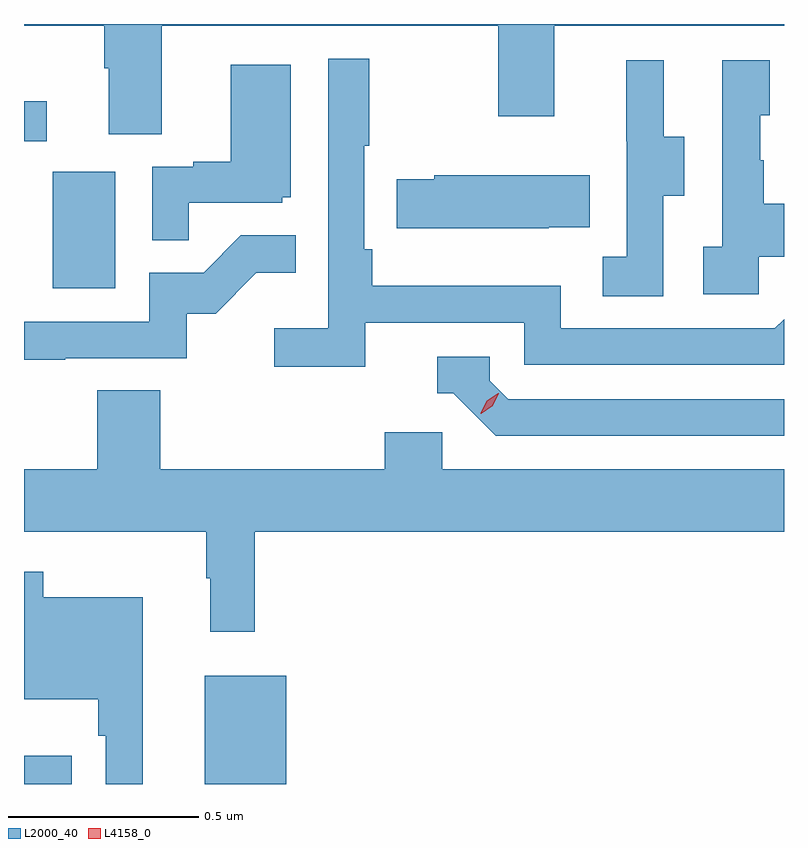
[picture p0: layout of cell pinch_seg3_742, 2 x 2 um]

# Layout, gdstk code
import gdstk
lib = gdstk.Library(unit=1e-6, precision=1e-09)
def R(c, l, rs):  # rectangles x0, y0, x1, y1
    for r in rs: c.add(gdstk.rectangle(r[:2], r[2:], *l))
def P(c, l, *ps):  # polygons
    for p in ps: c.add(gdstk.Polygon(p, *l))
L2000_40 = (2000, 40)
L4158_0 = (4158, 0)

pinch_seg3_742 = lib.new_cell('pinch_seg3_742')
R(pinch_seg3_742, L2000_40, [(875.422,729.556,875.548,729.631), (875.897,729.556,876.112,729.841), (875.498,730.86,875.662,731.167), (875.422,731.247,875.482,731.353)])
P(pinch_seg3_742, L2000_40, [(875.785,731.552),(876.67,731.552),(876.67,731.313),(876.817,731.313),(876.817,731.552),(877.422,731.552),(877.422,731.556),(875.422,731.556),(875.422,731.552),(875.633,731.552),(875.633,731.44),(875.645,731.44),(875.645,731.266),(875.785,731.266)],
  [(876.32,730.77),(876.738,730.77),(876.738,730.659),(877.422,730.659),(877.422,730.779),(877.398,730.755),(876.834,730.755),(876.834,730.867),(876.338,730.867),(876.338,730.963),(876.318,730.963),(876.318,731.236),(876.331,731.236),(876.331,731.464),(876.222,731.464),(876.222,730.756),(876.081,730.756),(876.081,730.654),(876.32,730.654)],
  [(877.104,731.104),(877.159,731.104),(877.159,731.259),(877.105,731.259),(877.105,731.461),(877.007,731.461),(877.007,731.247),(877.008,731.247),(877.008,730.943),(876.945,730.943),(876.945,730.84),(877.104,730.84)],
  [(877.356,730.943),(877.422,730.943),(877.422,731.083),(877.369,731.083),(877.369,731.198),(877.359,731.198),(877.359,731.316),(877.384,731.316),(877.384,731.461),(877.26,731.461),(877.26,730.97),(877.209,730.97),(877.209,730.845),(877.356,730.845)],
  [(875.855,731.085),(876.102,731.085),(876.102,731.1),(876.124,731.1),(876.124,731.449),(875.966,731.449),(875.966,731.194),(875.867,731.194),(875.867,731.181),(875.76,731.181),(875.76,730.987),(875.855,730.987)],
  [(876.803,731.021),(876.911,731.021),(876.911,731.158),(876.501,731.158),(876.501,731.148),(876.403,731.148),(876.403,731.018),(876.803,731.018)],
  [(875.531,730.677),(875.85,730.677),(875.85,730.794),(875.926,730.794),(876.033,730.901),(876.137,730.901),(876.137,731),(875.993,731),(875.895,730.902),(875.751,730.902),(875.751,730.773),(875.422,730.773),(875.422,730.672),(875.531,730.672)],
  [(877.422,730.569),(876.696,730.569),(876.648,730.617),(876.648,730.68),(876.509,730.68),(876.509,730.584),(876.552,730.584),(876.663,730.473),(877.422,730.473)],
  [(876.029,730.22),(877.422,730.22),(877.422,730.384),(876.522,730.384),(876.522,730.482),(876.371,730.482),(876.371,730.384),(875.78,730.384),(875.78,730.592),(875.615,730.592),(875.615,730.384),(875.422,730.384),(875.422,730.22),(875.901,730.22),(875.901,730.097),(875.912,730.097),(875.912,729.957),(876.029,729.957)],
  [(875.734,730.048),(875.473,730.048),(875.473,730.114),(875.422,730.114),(875.422,729.779),(875.617,729.779),(875.617,729.683),(875.637,729.683),(875.637,729.556),(875.734,729.556)])
P(pinch_seg3_742, L4158_0, [(876.624,730.531),(876.624,730.532),(876.64,730.564),(876.67,730.584),(876.671,730.584),(876.671,730.584),(876.655,730.551),(876.625,730.531)])

lib.write_gds('pinch_seg3_742.gds')
